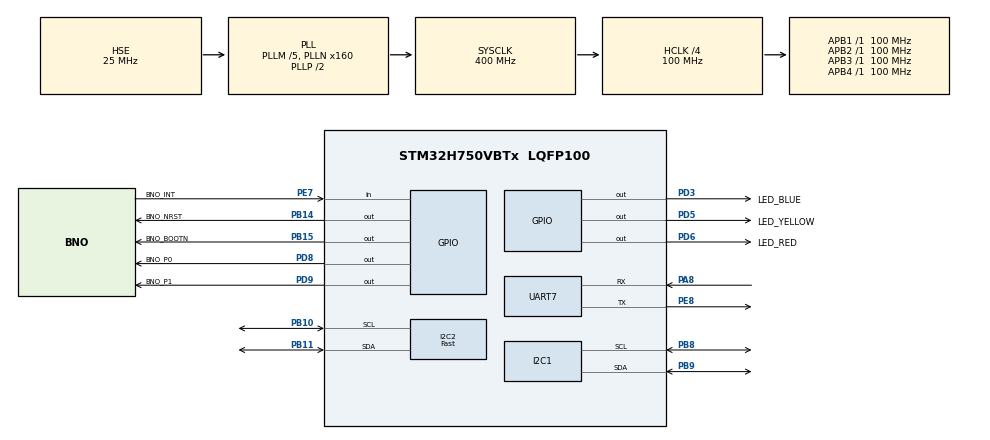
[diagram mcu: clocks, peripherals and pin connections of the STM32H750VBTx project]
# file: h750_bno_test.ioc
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I2C1.Timing=0x00404C74
I2C2.I2C_Speed_Mode=I2C_Fast
I2C2.Timing=0x00100822
Mcu.Family=STM32H7
Mcu.Name=STM32H750VBTx
Mcu.Package=LQFP100
NVIC.PriorityGroup=NVIC_PRIORITYGROUP_4
PA13\ (JTMS/SWDIO).Mode=Serial_Wire
PA13\ (JTMS/SWDIO).Signal=DEBUG_JTMS-SWDIO
PA14\ (JTCK/SWCLK).Mode=Serial_Wire
PA14\ (JTCK/SWCLK).Signal=DEBUG_JTCK-SWCLK
PA8.Mode=Asynchronous
PA8.Signal=UART7_RX
PB10.Mode=I2C
PB10.Signal=I2C2_SCL
PB11.Mode=I2C
PB11.Signal=I2C2_SDA
PB14.GPIO_Label=BNO_NRST
PB14.Signal=GPIO_Output
PB15.GPIO_Label=BNO_BOOTN
PB15.GPIO_PuPd=GPIO_NOPULL
PB15.Signal=GPIO_Output
PB8.Mode=I2C
PB8.Signal=I2C1_SCL
PB9.Mode=I2C
PB9.Signal=I2C1_SDA
PC14-OSC32_IN\ (OSC32_IN).Mode=LSE-External-Oscillator
PC14-OSC32_IN\ (OSC32_IN).Signal=RCC_OSC32_IN
PC15-OSC32_OUT\ (OSC32_OUT).Mode=LSE-External-Oscillator
PC15-OSC32_OUT\ (OSC32_OUT).Signal=RCC_OSC32_OUT
PD3.GPIO_Label=LED_BLUE
PD3.Signal=GPIO_Output
PD5.GPIO_Label=LED_YELLOW
PD5.Signal=GPIO_Output
PD6.GPIO_Label=LED_RED
PD6.Signal=GPIO_Output
PD8.GPIO_Label=BNO_P0
PD8.GPIO_PuPd=GPIO_PULLDOWN
PD8.Signal=GPIO_Output
PD9.GPIO_Label=BNO_P1
PD9.GPIO_PuPd=GPIO_PULLDOWN
PD9.Signal=GPIO_Output
PE7.GPIO_Label=BNO_INT
PE7.Signal=GPIO_Input
PE8.Mode=Asynchronous
PE8.Signal=UART7_TX
PH0-OSC_IN\ (PH0).Mode=HSE-External-Oscillator
PH0-OSC_IN\ (PH0).Signal=RCC_OSC_IN
PH1-OSC_OUT\ (PH1).Mode=HSE-External-Oscillator
PH1-OSC_OUT\ (PH1).Signal=RCC_OSC_OUT
ProjectManager.HeapSize=0x200
ProjectManager.StackSize=0x400
ProjectManager.TargetToolchain=STM32CubeIDE
RCC.ADCFreq_Value=50390625
RCC.APB1Freq_Value=100000000
RCC.APB2Freq_Value=100000000
RCC.APB3Freq_Value=100000000
RCC.APB4Freq_Value=100000000
RCC.CortexFreq_Value=400000000
RCC.DIVM1=5
RCC.DIVM3=25
RCC.DIVN1=160
RCC.DIVN3=160
RCC.DIVQ3=8
RCC.DIVR3=8
RCC.HCLKFreq_Value=100000000
RCC.HPRE=RCC_HCLK_DIV4
RCC.I2C123CLockSelection=RCC_I2C123CLKSOURCE_PLL3
RCC.PLLSourceVirtual=RCC_PLLSOURCE_HSE
RCC.SYSCLKFreq_VALUE=400000000
RCC.SYSCLKSource=RCC_SYSCLKSOURCE_PLLCLK
RCC.USBFreq_Value=400000000
board=custom

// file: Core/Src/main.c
/* USER CODE BEGIN Header */
/**
  ******************************************************************************
  * @file           : main.c
  * @brief          : Main program body
  ******************************************************************************
  * @attention
  *
  * Copyright (c) 2023 STMicroelectronics.
  * All rights reserved.
  *
  * This software is licensed under terms that can be found in the LICENSE file
  * in the root directory of this software component.
  * If no LICENSE file comes with this software, it is provided AS-IS.
  *
  ******************************************************************************
  */
/* USER CODE END Header */
#include "main.h"

/* USER CODE BEGIN Includes */
#include "stdio.h"
#include "BNO08x_I2C/BNO08x_I2C.h"
#include "utility.h"
//#include "Adafruit_BNO08x.h"
/* USER CODE END Includes */

I2C_HandleTypeDef hi2c1;
I2C_HandleTypeDef hi2c2;

UART_HandleTypeDef huart7;

/* USER CODE BEGIN PV */
uint8_t uart_data[19];
uint8_t bno_header[4]; //Each packet has a header of 4 bytes
uint8_t bno_data[1024];

//sh2_SensorValue_t sensorValue;
//Adafruit_BNO08x  bno08x;

BNO08x bno;
/* USER CODE END PV */

void SystemClock_Config(void);
void PeriphCommonClock_Config(void);
static void MX_GPIO_Init(void);
static void MX_I2C1_Init(void);
static void MX_UART7_Init(void);
static void MX_I2C2_Init(void);
/* USER CODE BEGIN PFP */

#ifdef __GNUC__
#define PUTCHAR_PROTOTYPE int __io_putchar(int ch)
#else
#define PUTCHAR_PROTOTYPE int fputc(int ch, FILE *f)
#endif

/* USER CODE END PFP */

/* USER CODE BEGIN 0 */
PUTCHAR_PROTOTYPE
{
  HAL_UART_Transmit(&huart7, (uint8_t *)&ch, 1, HAL_MAX_DELAY);
  return ch;
}

uint8_t BNO085_setup(){

	bno.hi2c2 = &hi2c2;

	bno.rst_port = BNO_NRST_GPIO_Port;
	bno.rst_pin = BNO_NRST_Pin;

	bno.p0_port = BNO_P0_GPIO_Port;
	bno.p0_pin = BNO_P0_Pin;

	bno.p1_port = BNO_P1_GPIO_Port;
	bno.p1_pin = BNO_P1_Pin;

	bno.int_port = BNO_INT_GPIO_Port;
	bno.int_pin = BNO_INT_Pin;

	bno.bootn_port=BNO_BOOTN_GPIO_Port;
	bno.bootn_pin = BNO_BOOTN_Pin;

	bno08x_hardware_reset(&bno);

	if(!bno08x_initialization(&bno)){
		printf("BNO initialization failed\n");
		return 0;
	}

	bno08x_wait_for_data(&bno);
	if(bno08x_enable_gyro(&bno,50)!=HAL_OK){
		return 0;
	}
	printf("Accelerometer enabled\nOutput in form x, y, z, in m/s^2\n");
	return 1;

}

void test_i2c(){

    uint8_t i;
    HAL_StatusTypeDef ret;
    uint8_t address[10];
    uint8_t length=0;
    for(i=1; i<128; i++)
    {
        ret = HAL_I2C_IsDeviceReady(&hi2c1, (uint16_t)(i<<1), 3, 5);
        if(ret == HAL_OK)
        {
            address[length++]=i;
        }
    }
    uint8_t i2c_start_msg1[] = "I2C Scanning:\n";

	char buffer[25] = {0};
	HAL_UART_Transmit(&huart7, i2c_start_msg1, sizeof(i2c_start_msg1)-1, 10);

	if(length==2){
		sprintf(buffer, "\tI2C1 Address:0x%02X,0x%02X\n", address[0],address[1]);
		HAL_UART_Transmit(&huart7, (uint8_t*)buffer, 24, 10);
	}else if(length==1){
		sprintf(buffer, "\tI2C1 Address:0x%02X\n", address[0]);
		HAL_UART_Transmit(&huart7, (uint8_t*)buffer, 19, 10);
	}else if(length==0){
		HAL_UART_Transmit(&huart7, (uint8_t*)"\tNo Device Found In I2C1\n", 25, 10);
	}

    length=0;
    for(i=1; i<128; i++)
	{
		ret = HAL_I2C_IsDeviceReady(&hi2c2, (uint16_t)(i<<1), 3, 5);
		if(ret == HAL_OK)
		{
			address[length++]=i;
		}
	}
    if(length==2){
		sprintf(buffer, "\tI2C2 Address:0x%02X,0x%02X\n", address[0],address[1]);
		HAL_UART_Transmit(&huart7, (uint8_t*)buffer, 24, 10);
	}else if(length==1){
		sprintf(buffer, "\tI2C2 Address:0x%02X\n", address[0]);
		HAL_UART_Transmit(&huart7, (uint8_t*)buffer, 19, 10);
	}else if(length==0){
		HAL_UART_Transmit(&huart7, (uint8_t*)"\tNo Device Found In I2C2\n", 25, 10);
	}

}

void HAL_GPIO_EXTI_Callback(uint16_t GPIO_Pin)
{
  if(GPIO_Pin == BNO_INT_Pin)
  {
	  HAL_GPIO_TogglePin(LED_RED_GPIO_Port, LED_RED_Pin);
  }
}

/* USER CODE END 0 */

int main(void)
{

  /* MCU Configuration--------------------------------------------------------*/

  /* Reset of all peripherals, Initializes the Flash interface and the Systick. */
  HAL_Init();

  /* Configure the system clock */
  SystemClock_Config();

/* Configure the peripherals common clocks */
  PeriphCommonClock_Config();

  /* Initialize all configured peripherals */
  MX_GPIO_Init();
  MX_I2C1_Init();
  MX_UART7_Init();
  MX_I2C2_Init();
  /* USER CODE BEGIN 2 */
  DWT_Init();
  //BNO085_setup();

  //HAL_Delay(200);
  //prodid prodids[2];
  //bno08x_get_prodid(&bno, prodids);

  HAL_GPIO_WritePin(LED_BLUE_GPIO_Port, LED_BLUE_Pin, GPIO_PIN_RESET);

   HAL_Delay(100);
  //HAL_UART_Receive_IT(&huart3, uart_data, 19);
  /* USER CODE END 2 */

  /* Infinite loop */
  /* USER CODE BEGIN WHILE */
  float acc[3];
  while (1)
  {

	  HAL_GPIO_TogglePin(LED_BLUE_GPIO_Port, LED_BLUE_Pin);
	  HAL_Delay(1000);
	  test_i2c();

	  /*

	  if(bno08x_receive_packet(&bno)>0){
		  if(bno.data[2+4] == CHANNEL_REPORTS && bno.data[0+4] == SHTP_REPORT_BASE_TIMESTAMP){
			  bno08x_parse_report(&bno);

			  bno08x_get_acc(&bno, acc);
			  printf("%0.2f,%0.2f,%0.2f\n",acc[0],acc[1],acc[2]);
		  }
	  }else{
		  bno085x_get_errors(&bno);
		  bno085x_print_errors(&bno);
	  }*/

    /* USER CODE END WHILE */

  }
}

void SystemClock_Config(void)
{
  RCC_OscInitTypeDef RCC_OscInitStruct = {0};
  RCC_ClkInitTypeDef RCC_ClkInitStruct = {0};

  /** Supply configuration update enable
  */
  HAL_PWREx_ConfigSupply(PWR_LDO_SUPPLY);

  /** Configure the main internal regulator output voltage
  */
  __HAL_PWR_VOLTAGESCALING_CONFIG(PWR_REGULATOR_VOLTAGE_SCALE1);

  while(!__HAL_PWR_GET_FLAG(PWR_FLAG_VOSRDY)) {}

  /** Initializes the RCC Oscillators according to the specified parameters
  * in the RCC_OscInitTypeDef structure.
  */
  RCC_OscInitStruct.OscillatorType = RCC_OSCILLATORTYPE_HSE;
  RCC_OscInitStruct.HSEState = RCC_HSE_ON;
  RCC_OscInitStruct.PLL.PLLState = RCC_PLL_ON;
  RCC_OscInitStruct.PLL.PLLSource = RCC_PLLSOURCE_HSE;
  RCC_OscInitStruct.PLL.PLLM = 5;
  RCC_OscInitStruct.PLL.PLLN = 160;
  RCC_OscInitStruct.PLL.PLLP = 2;
  RCC_OscInitStruct.PLL.PLLQ = 2;
  RCC_OscInitStruct.PLL.PLLR = 2;
  RCC_OscInitStruct.PLL.PLLRGE = RCC_PLL1VCIRANGE_2;
  RCC_OscInitStruct.PLL.PLLVCOSEL = RCC_PLL1VCOWIDE;
  RCC_OscInitStruct.PLL.PLLFRACN = 0;
  if (HAL_RCC_OscConfig(&RCC_OscInitStruct) != HAL_OK)
  {
    Error_Handler();
  }

  /** Initializes the CPU, AHB and APB buses clocks
  */
  RCC_ClkInitStruct.ClockType = RCC_CLOCKTYPE_HCLK|RCC_CLOCKTYPE_SYSCLK
                              |RCC_CLOCKTYPE_PCLK1|RCC_CLOCKTYPE_PCLK2
                              |RCC_CLOCKTYPE_D3PCLK1|RCC_CLOCKTYPE_D1PCLK1;
  RCC_ClkInitStruct.SYSCLKSource = RCC_SYSCLKSOURCE_PLLCLK;
  RCC_ClkInitStruct.SYSCLKDivider = RCC_SYSCLK_DIV1;
  RCC_ClkInitStruct.AHBCLKDivider = RCC_HCLK_DIV4;
  RCC_ClkInitStruct.APB3CLKDivider = RCC_APB3_DIV1;
  RCC_ClkInitStruct.APB1CLKDivider = RCC_APB1_DIV1;
  RCC_ClkInitStruct.APB2CLKDivider = RCC_APB2_DIV1;
  RCC_ClkInitStruct.APB4CLKDivider = RCC_APB4_DIV1;

  if (HAL_RCC_ClockConfig(&RCC_ClkInitStruct, FLASH_LATENCY_1) != HAL_OK)
  {
    Error_Handler();
  }
}

void PeriphCommonClock_Config(void)
{
  RCC_PeriphCLKInitTypeDef PeriphClkInitStruct = {0};

  /** Initializes the peripherals clock
  */
  PeriphClkInitStruct.PeriphClockSelection = RCC_PERIPHCLK_I2C2|RCC_PERIPHCLK_I2C1;
  PeriphClkInitStruct.PLL3.PLL3M = 25;
  PeriphClkInitStruct.PLL3.PLL3N = 160;
  PeriphClkInitStruct.PLL3.PLL3P = 2;
  PeriphClkInitStruct.PLL3.PLL3Q = 8;
  PeriphClkInitStruct.PLL3.PLL3R = 8;
  PeriphClkInitStruct.PLL3.PLL3RGE = RCC_PLL3VCIRANGE_0;
  PeriphClkInitStruct.PLL3.PLL3VCOSEL = RCC_PLL3VCOMEDIUM;
  PeriphClkInitStruct.PLL3.PLL3FRACN = 0;
  PeriphClkInitStruct.I2c123ClockSelection = RCC_I2C123CLKSOURCE_PLL3;
  if (HAL_RCCEx_PeriphCLKConfig(&PeriphClkInitStruct) != HAL_OK)
  {
    Error_Handler();
  }
}

static void MX_I2C1_Init(void)
{

  hi2c1.Instance = I2C1;
  hi2c1.Init.Timing = 0x00404C74;
  hi2c1.Init.OwnAddress1 = 0;
  hi2c1.Init.AddressingMode = I2C_ADDRESSINGMODE_7BIT;
  hi2c1.Init.DualAddressMode = I2C_DUALADDRESS_DISABLE;
  hi2c1.Init.OwnAddress2 = 0;
  hi2c1.Init.OwnAddress2Masks = I2C_OA2_NOMASK;
  hi2c1.Init.GeneralCallMode = I2C_GENERALCALL_DISABLE;
  hi2c1.Init.NoStretchMode = I2C_NOSTRETCH_DISABLE;
  if (HAL_I2C_Init(&hi2c1) != HAL_OK)
  {
    Error_Handler();
  }

  /** Configure Analogue filter
  */
  if (HAL_I2CEx_ConfigAnalogFilter(&hi2c1, I2C_ANALOGFILTER_ENABLE) != HAL_OK)
  {
    Error_Handler();
  }

  /** Configure Digital filter
  */
  if (HAL_I2CEx_ConfigDigitalFilter(&hi2c1, 0) != HAL_OK)
  {
    Error_Handler();
  }

}

static void MX_I2C2_Init(void)
{

  hi2c2.Instance = I2C2;
  hi2c2.Init.Timing = 0x00100822;
  hi2c2.Init.OwnAddress1 = 0;
  hi2c2.Init.AddressingMode = I2C_ADDRESSINGMODE_7BIT;
  hi2c2.Init.DualAddressMode = I2C_DUALADDRESS_DISABLE;
  hi2c2.Init.OwnAddress2 = 0;
  hi2c2.Init.OwnAddress2Masks = I2C_OA2_NOMASK;
  hi2c2.Init.GeneralCallMode = I2C_GENERALCALL_DISABLE;
  hi2c2.Init.NoStretchMode = I2C_NOSTRETCH_DISABLE;
  if (HAL_I2C_Init(&hi2c2) != HAL_OK)
  {
    Error_Handler();
  }

  /** Configure Analogue filter
  */
  if (HAL_I2CEx_ConfigAnalogFilter(&hi2c2, I2C_ANALOGFILTER_ENABLE) != HAL_OK)
  {
    Error_Handler();
  }

  /** Configure Digital filter
  */
  if (HAL_I2CEx_ConfigDigitalFilter(&hi2c2, 0) != HAL_OK)
  {
    Error_Handler();
  }

}

static void MX_UART7_Init(void)
{

  huart7.Instance = UART7;
  huart7.Init.BaudRate = 115200;
  huart7.Init.WordLength = UART_WORDLENGTH_8B;
  huart7.Init.StopBits = UART_STOPBITS_1;
  huart7.Init.Parity = UART_PARITY_NONE;
  huart7.Init.Mode = UART_MODE_TX_RX;
  huart7.Init.HwFlowCtl = UART_HWCONTROL_NONE;
  huart7.Init.OverSampling = UART_OVERSAMPLING_16;
  huart7.Init.OneBitSampling = UART_ONE_BIT_SAMPLE_DISABLE;
  huart7.Init.ClockPrescaler = UART_PRESCALER_DIV1;
  huart7.AdvancedInit.AdvFeatureInit = UART_ADVFEATURE_NO_INIT;
  if (HAL_UART_Init(&huart7) != HAL_OK)
  {
    Error_Handler();
  }
  if (HAL_UARTEx_SetTxFifoThreshold(&huart7, UART_TXFIFO_THRESHOLD_1_8) != HAL_OK)
  {
    Error_Handler();
  }
  if (HAL_UARTEx_SetRxFifoThreshold(&huart7, UART_RXFIFO_THRESHOLD_1_8) != HAL_OK)
  {
    Error_Handler();
  }
  if (HAL_UARTEx_DisableFifoMode(&huart7) != HAL_OK)
  {
    Error_Handler();
  }

}

static void MX_GPIO_Init(void)
{
  GPIO_InitTypeDef GPIO_InitStruct = {0};

  /* GPIO Ports Clock Enable */
  __HAL_RCC_GPIOC_CLK_ENABLE();
  __HAL_RCC_GPIOH_CLK_ENABLE();
  __HAL_RCC_GPIOE_CLK_ENABLE();
  __HAL_RCC_GPIOB_CLK_ENABLE();
  __HAL_RCC_GPIOD_CLK_ENABLE();
  __HAL_RCC_GPIOA_CLK_ENABLE();

  /*Configure GPIO pin Output Level */
  HAL_GPIO_WritePin(GPIOB, BNO_NRST_Pin|BNO_BOOTN_Pin, GPIO_PIN_RESET);

  /*Configure GPIO pin Output Level */
  HAL_GPIO_WritePin(GPIOD, BNO_P0_Pin|BNO_P1_Pin|LED_BLUE_Pin|LED_YELLOW_Pin
                          |LED_RED_Pin, GPIO_PIN_RESET);

  /*Configure GPIO pin : BNO_INT_Pin */
  GPIO_InitStruct.Pin = BNO_INT_Pin;
  GPIO_InitStruct.Mode = GPIO_MODE_INPUT;
  GPIO_InitStruct.Pull = GPIO_NOPULL;
  HAL_GPIO_Init(BNO_INT_GPIO_Port, &GPIO_InitStruct);

  /*Configure GPIO pins : BNO_NRST_Pin BNO_BOOTN_Pin */
  GPIO_InitStruct.Pin = BNO_NRST_Pin|BNO_BOOTN_Pin;
  GPIO_InitStruct.Mode = GPIO_MODE_OUTPUT_PP;
  GPIO_InitStruct.Pull = GPIO_NOPULL;
  GPIO_InitStruct.Speed = GPIO_SPEED_FREQ_LOW;
  HAL_GPIO_Init(GPIOB, &GPIO_InitStruct);

  /*Configure GPIO pins : BNO_P0_Pin BNO_P1_Pin */
  GPIO_InitStruct.Pin = BNO_P0_Pin|BNO_P1_Pin;
  GPIO_InitStruct.Mode = GPIO_MODE_OUTPUT_PP;
  GPIO_InitStruct.Pull = GPIO_PULLDOWN;
  GPIO_InitStruct.Speed = GPIO_SPEED_FREQ_LOW;
  HAL_GPIO_Init(GPIOD, &GPIO_InitStruct);

  /*Configure GPIO pins : LED_BLUE_Pin LED_YELLOW_Pin LED_RED_Pin */
  GPIO_InitStruct.Pin = LED_BLUE_Pin|LED_YELLOW_Pin|LED_RED_Pin;
  GPIO_InitStruct.Mode = GPIO_MODE_OUTPUT_PP;
  GPIO_InitStruct.Pull = GPIO_NOPULL;
  GPIO_InitStruct.Speed = GPIO_SPEED_FREQ_LOW;
  HAL_GPIO_Init(GPIOD, &GPIO_InitStruct);

}

void Error_Handler(void)
{
  __disable_irq();
  while (1)
  {
  }
}
